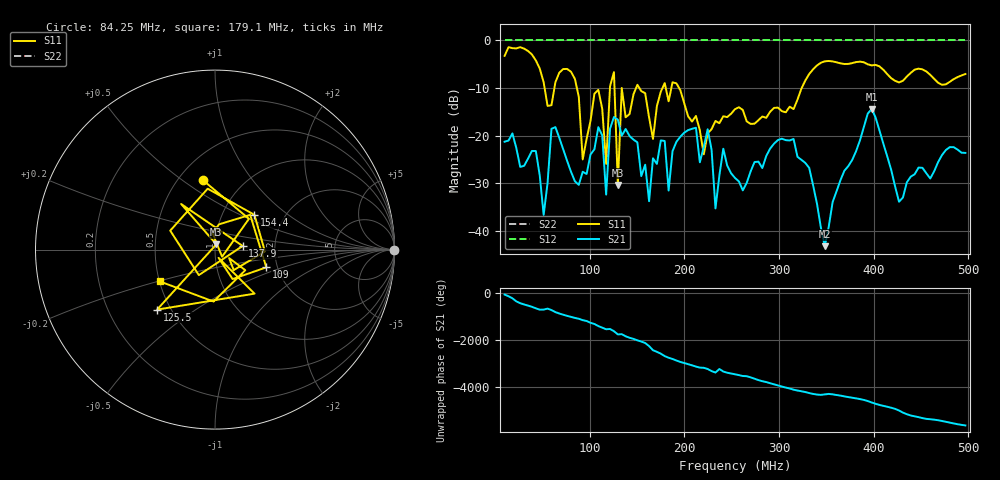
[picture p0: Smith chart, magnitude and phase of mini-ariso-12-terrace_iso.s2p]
! Anritsu VNA Master:  Model: MS2024B
! SN:  2417009
! /card0/usr/mini-ariso-12-terrace_iso.s2p
! Existing Calibration Information:
! TYPE:  Current Settings,  Active Cal Settings
! TIME:  09/07/2026 01:14:52 AM,  09/07/2026 01:10:48 AM
! INTERNAL TEMP:  49.8 C,  47.5 C
! # POINTS:  119,  119
! START FREQ:  10.000 MHz,  10.000 MHz
! STOP FREQ:  496.750 MHz,  496.750 MHz
! SOURCE POWER:  Default,  Default
! IFBW:  1 kHz,  1 kHz
! AVG FACTOR:  16 ,  16
! REF PLANE 1:  0 mm,  0 mm
! REF PLANE 2:  0 mm,  0 mm
! CAL TYPE:  1P2P S11,S21,  1P2P S11,S21
! CAL METHOD:  SOLT,  SOLT
! CAL LINE TYPE:  Coax,  Coax
! DUT PORT 1:  N-Conn(M),  N-Conn(M)
! DUT PORT 2:  N-Conn(M),  N-Conn(M)
! CAL STATUS:  OK: Accuracy High,  --
# GHZ S DB R 50.0
! FREQ.GHZ  S11DB  S11A  S21DB  S21A  S12DB  S12A  S22DB  S22A
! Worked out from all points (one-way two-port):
!   119 points, 10 MHz to 496.8 MHz, reference 50 ohm
!   highest |S21| = -14.42 dB at 397.8 MHz (marker M1); lowest = -43.3 dB at 348.2 MHz (marker M2)
!   lowest |S11| = -30.4 dB at 129.6 MHz (marker M3), VSWR 1.06, Z = 50.7 + j2.97 ohm
!   |S11| at or under -10 dB: 86.34 MHz to 121.3 MHz (34.94 MHz wide, 33.7 % of centre); 152.3 MHz to 176.8 MHz (24.43 MHz wide, 14.8 % of centre); 194.3 MHz to 323.8 MHz (129.5 MHz wide, 50 % of centre)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
!   |S22| runs from 0.0 to 0.0 dB; largest |S21 - S12| = 1.2
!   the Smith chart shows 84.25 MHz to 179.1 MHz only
!   S11 on the Smith chart (normalised r, x): 84.25 MHz: 0.65, +0.60; 109 MHz: 1.75, -0.38; 125.5 MHz: 0.42, -0.36; 137.9 MHz: 1.36, +0.06; 154.4 MHz: 1.41, +0.60; 179.1 MHz: 0.50, -0.20
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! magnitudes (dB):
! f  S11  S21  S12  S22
! 10 MHz  -3.2  -21.3  0.0  0.0
! 51.25 MHz  -8.8  -36.7  0.0  0.0
! 59.5 MHz  -13.6  -18.6  0.0  0.0
! 84.25 MHz  -8.1  -29.6  0.0  0.0
! 92.5 MHz  -25.0  -27.6  0.0  0.0
! 109 MHz  -10.4  -18.2  0.0  0.0
! 117.2 MHz  -26.0  -32.4  0.0  0.0
! 125.5 MHz  -6.7  -16.1  0.0  0.0
! 129.6 MHz  -30.4  -16.7  0.0  0.0
! 133.8 MHz  -10.0  -20.0  0.0  0.0
! 137.9 MHz  -16.2  -18.6  0.0  0.0
! 154.4 MHz  -10.7  -28.5  0.0  0.0
! 175 MHz  -10.8  -21.0  0.0  0.0
! 179.1 MHz  -9.0  -21.2  0.0  0.0
! 220.4 MHz  -24.0  -22.4  0.0  0.0
! 232.8 MHz  -16.9  -35.3  0.0  0.0
! 253.4 MHz  -14.5  -28.9  0.0  0.0
! 335.9 MHz  -6.1  -30.5  0.0  0.0
! 348.2 MHz  -4.4  -43.3  0.0  0.0
! 397.8 MHz  -5.3  -14.4  0.0  0.0
! 418.4 MHz  -7.9  -27.2  0.0  0.0
! 496.8 MHz  -7.1  -23.7  0.0  0.0
